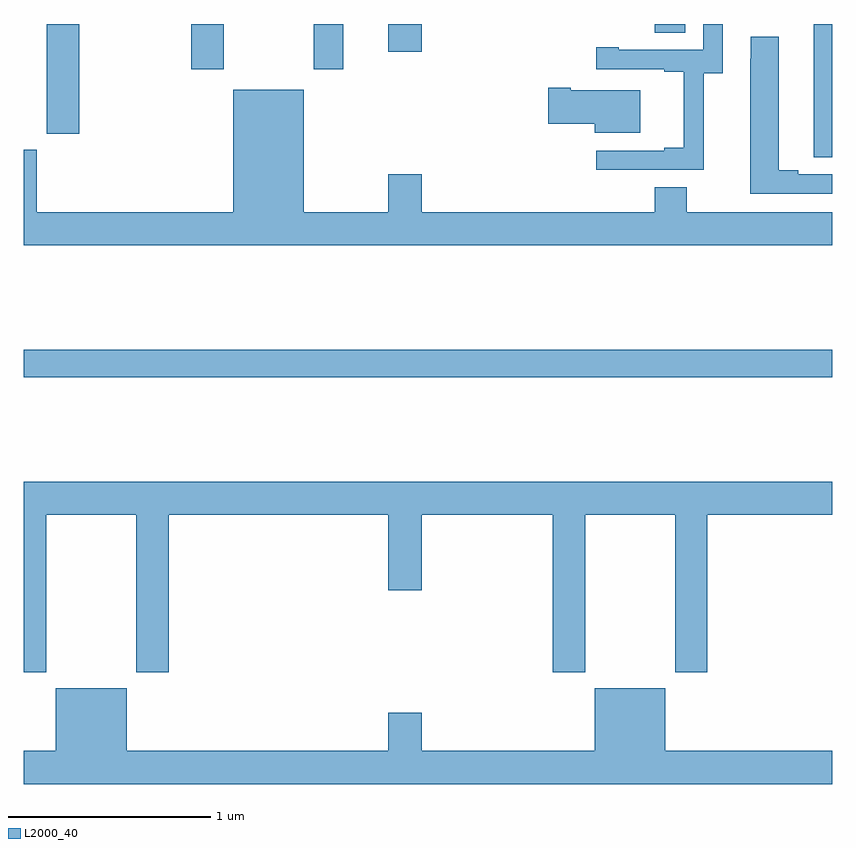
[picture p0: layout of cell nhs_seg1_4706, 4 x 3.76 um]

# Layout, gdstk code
import gdstk
lib = gdstk.Library(unit=1e-6, precision=1e-09)
def R(c, l, rs):  # rectangles x0, y0, x1, y1
    for r in rs: c.add(gdstk.rectangle(r[:2], r[2:], *l))
def P(c, l, *ps):  # polygons
    for p in ps: c.add(gdstk.Polygon(p, *l))
L2000_40 = (2000, 40)

nhs_seg1_4706 = lib.new_cell('nhs_seg1_4706')
R(nhs_seg1_4706, L2000_40, [(367,512.452,371,512.588), (370.907,513.541,371,514.199), (367.114,513.657,367.274,514.199), (367.829,513.975,367.989,514.199), (368.434,513.975,368.581,514.199), (368.804,514.062,368.968,514.199), (370.121,514.156,370.273,514.199)])
P(nhs_seg1_4706, L2000_40, [(370.365,513.955),(370.459,513.955),(370.459,514.199),(370.362,514.199),(370.362,514.071),(369.943,514.071),(369.943,514.084),(369.831,514.084),(369.831,513.975),(370.169,513.975),(370.169,513.963),(370.265,513.963),(370.265,513.586),(370.169,513.586),(370.169,513.573),(369.831,513.573),(369.831,513.477),(370.365,513.477)],
  [(371,513.456),(370.831,513.456),(370.831,513.476),(370.735,513.476),(370.735,514.136),(370.596,514.136),(370.596,514.028),(370.595,514.028),(370.595,513.36),(371,513.36)],
  [(370.051,513.871),(369.706,513.871),(369.706,513.884),(369.594,513.884),(369.594,513.706),(369.824,513.706),(369.824,513.662),(370.051,513.662)],
  [(371,513.268),(370.281,513.268),(370.281,513.392),(370.121,513.392),(370.121,513.268),(368.968,513.268),(368.968,513.457),(368.804,513.457),(368.804,513.268),(368.386,513.268),(368.386,513.874),(368.036,513.874),(368.036,513.268),(367.066,513.268),(367.066,513.577),(367,513.577),(367,513.104),(371,513.104)],
  [(367.113,511.772),(367.558,511.772),(367.558,510.993),(367.718,510.993),(367.718,511.772),(368.804,511.772),(368.804,511.398),(368.968,511.398),(368.968,511.772),(369.617,511.772),(369.617,510.993),(369.777,510.993),(369.777,511.772),(370.222,511.772),(370.222,510.993),(370.382,510.993),(370.382,511.772),(371,511.772),(371,511.936),(367,511.936),(367,510.993),(367.113,510.993)],
  [(371,510.604),(370.174,510.604),(370.174,510.913),(369.824,510.913),(369.824,510.604),(368.968,510.604),(368.968,510.793),(368.804,510.793),(368.804,510.604),(367.51,510.604),(367.51,510.913),(367.16,510.913),(367.16,510.604),(367,510.604),(367,510.44),(371,510.44)])

lib.write_gds('nhs_seg1_4706.gds')
